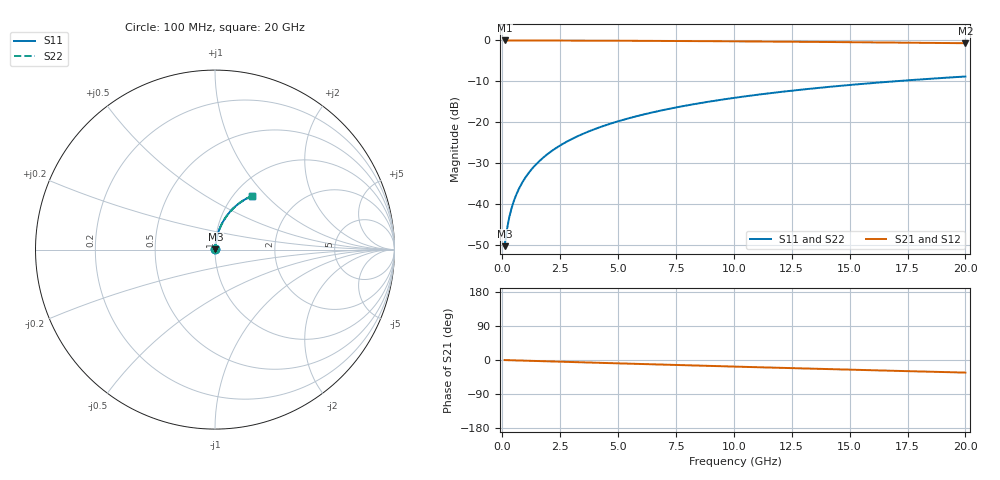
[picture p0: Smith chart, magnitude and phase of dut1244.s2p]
! Touchstone file exported from HFSS 2026.1.0
!  File:  C:/ffzhzh/LocalFiles/Ansys_Project_Files/temp_train_TMRDL_1244_1783163709_55132.aedt
!  Generated:  07:16:29 PM Jul  4, 2026
!  Design:  TMRDL
!  Project:  temp_train_TMRDL_1244_1783163709_55132
! Variables:
!  h_bsmrdl = 2um
!  h_ox = 20um
!  h_rdl = 5um
!  h_sub = 80um
!  h_tmrdl = 3.95um
!  h_tsv = 80um
!  h_via = 3um
!  l_bsmrdl = 300um
!  l_sub = 823.87um
!  l_tmrdl = 423.87um
!  m_sub = 200um
!  pitch = 55.42um
!  r_tsv = 6um
!  s_tmrdl = 10um
!  w_bsmrdl = 18um
!  w_sub = 500um
!  w_tmrdl = 19.17um
!  x_tsv_center1 = 433.455um
!  x_tsv_center2 = 751.455um
!  x_tsv_center3 = 1194.495um
!  x_tsv_center4 = 1512.495um
!  x_tsv_center5 = 1955.535um
!  x_tsv_center6 = 2273.535um
# GHz S MA R 50.000000
! Terminal data exported
! Port[1] = TM_RDL1_1_T1
! Port[2] = TM_RDL1_1_T2
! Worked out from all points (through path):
!   200 points, 100 MHz to 20 GHz, reference 50 ohm
!   highest |S21| = -0.02 dB at 100 MHz (marker M1); lowest = -0.7 dB at 20 GHz (marker M2)
!   group delay of S21, straight-line fit = 4.62 ps
!   lowest |S11| = -50.2 dB at 100 MHz (marker M3), VSWR 1.01, Z = 50.2 + j0.222 ohm
!   |S11| at or under -10 dB: start of sweep to 16.91 GHz
!   |S22| runs from -50.2 to -8.8 dB; largest |S21 - S12| = 2e-15
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0.1  0.003082 45.8  0.9979 -0.2  0.9979 -0.2  0.003082 45.8
! Gamma 0 0 0 0
! Port Impedance 50 0 50 0
0.2  0.00492 62.8  0.9978 -0.4  0.9978 -0.4  0.00492 62.8
0.3  0.006918 70.0  0.9977 -0.5  0.9977 -0.5  0.006918 70.0
0.4  0.008946 73.8  0.9976 -0.7  0.9976 -0.7  0.008946 73.8
0.5  0.01098 76.2  0.9975 -0.9  0.9975 -0.9  0.01098 76.2
0.7  0.01507 79.1  0.9974 -1.3  0.9974 -1.3  0.01507 79.1
0.8  0.01712 79.9  0.9973 -1.4  0.9973 -1.4  0.01712 79.9
1  0.02124 81.1  0.9972 -1.8  0.9972 -1.8  0.02124 81.1
1.2  0.02537 81.8  0.997 -2.2  0.997 -2.2  0.02537 81.8
1.4  0.02951 82.2  0.9969 -2.5  0.9969 -2.5  0.02951 82.2
1.7  0.03571 82.4  0.9966 -3.0  0.9966 -3.0  0.03571 82.4
2  0.04191 82.4  0.9962 -3.6  0.9962 -3.6  0.04191 82.4
2.7  0.05634 82.0  0.9953 -4.8  0.9953 -4.8  0.05634 82.0
3.5  0.0727 81.0  0.9939 -6.2  0.9939 -6.2  0.0727 81.0
4.2  0.08689 80.0  0.9924 -7.5  0.9924 -7.5  0.08689 80.0
5  0.1029 78.8  0.9905 -8.9  0.9905 -8.9  0.1029 78.8
6.8  0.1383 76.0  0.9854 -12.0  0.9854 -12.0  0.1383 76.0
8.3  0.167 73.6  0.9803 -14.5  0.9803 -14.5  0.167 73.6
10.1  0.2005 70.7  0.9734 -17.5  0.9734 -17.5  0.2005 70.7
13.4  0.2588 65.5  0.9587 -22.9  0.9587 -22.9  0.2588 65.5
16.7  0.3129 60.4  0.942 -28.2  0.942 -28.2  0.3129 60.4
20  0.3624 55.5  0.9237 -33.2  0.9237 -33.2  0.3624 55.5
